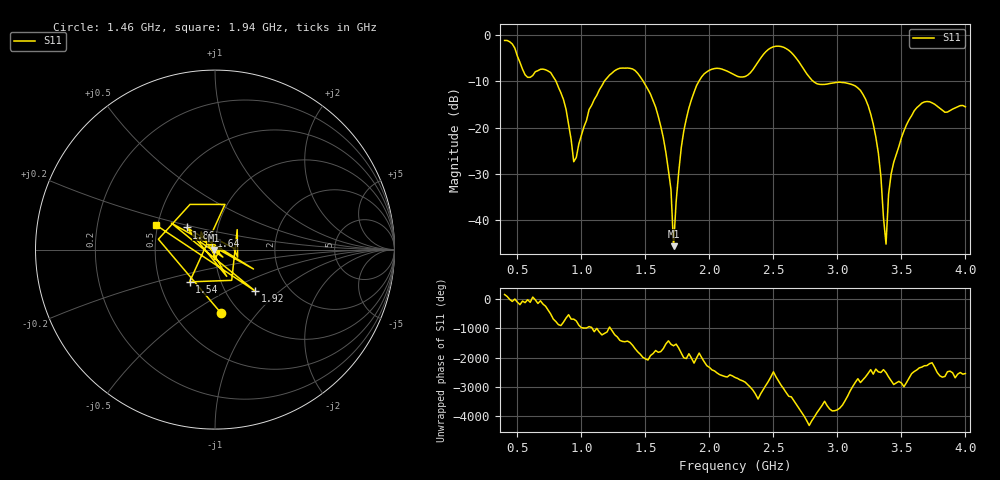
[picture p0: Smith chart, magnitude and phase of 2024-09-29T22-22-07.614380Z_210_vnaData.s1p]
!Created with skrf (http://scikit-rf.org).
# Hz S RI R 50.0
!freq ReS11 ImS11
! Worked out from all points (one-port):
!   181 points, 400 MHz to 4 GHz, reference 50 ohm
!   lowest |S11| = -45.5 dB at 1.72 GHz (marker M1), VSWR 1.01, Z = 49.5 - j0.207 ohm
!   |S11| at or under -10 dB: 801.4 MHz to 1.179 GHz (377.7 MHz wide, 38.1 % of centre); 1.483 GHz to 1.918 GHz (435.8 MHz wide, 25.6 % of centre); 2.811 GHz to end of sweep
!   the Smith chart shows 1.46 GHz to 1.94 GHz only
!   S11 on the Smith chart (normalised r, x): 1.46 GHz: 0.82, -0.66; 1.54 GHz: 0.71, -0.27; 1.64 GHz: 0.95, +0.14; 1.86 GHz: 0.71, +0.18; 1.92 GHz: 1.36, -0.70; 1.94 GHz: 0.49, +0.15
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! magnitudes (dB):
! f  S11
! 400 MHz  -1.2
! 760 MHz  -8.1
! 860 MHz  -14.0
! 940 MHz  -27.4
! 1.06 GHz  -16.1
! 1.3 GHz  -7.2
! 1.46 GHz  -9.0
! 1.54 GHz  -12.8
! 1.64 GHz  -22.2
! 1.7 GHz  -33.4
! 1.72 GHz  -45.5
! 1.76 GHz  -29.6
! 1.86 GHz  -14.0
! 1.92 GHz  -9.9
! 1.94 GHz  -9.0
! 2.2 GHz  -8.7
! 2.5 GHz  -2.6
! 2.66 GHz  -4.4
! 2.84 GHz  -10.5
! 3.1 GHz  -10.6
! 3.28 GHz  -19.2
! 3.34 GHz  -30.6
! 3.38 GHz  -45.1
! 3.4 GHz  -34.3
! 3.42 GHz  -30.0
! 3.56 GHz  -18.3
! 3.68 GHz  -14.5
! 4 GHz  -15.5
